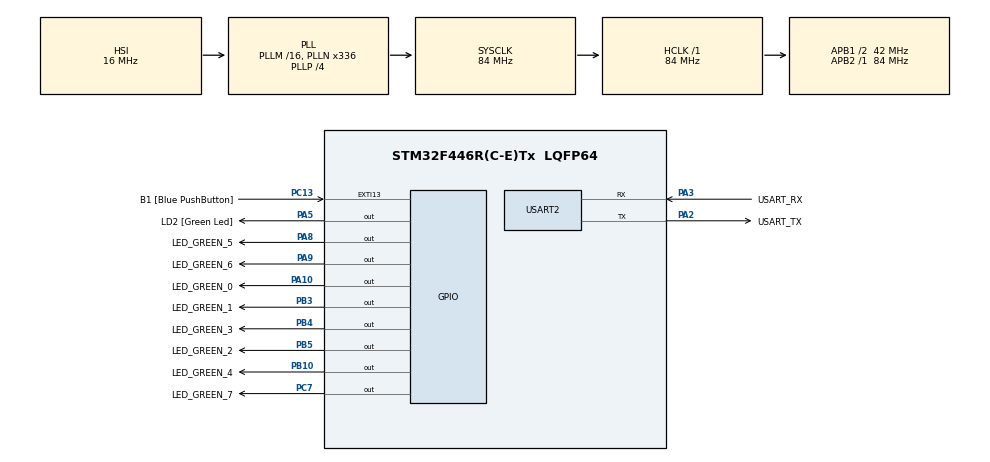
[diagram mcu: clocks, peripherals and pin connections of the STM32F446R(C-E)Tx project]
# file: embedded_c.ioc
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Mcu.Family=STM32F4
Mcu.Name=STM32F446R(C-E)Tx
Mcu.Package=LQFP64
NVIC.PriorityGroup=NVIC_PRIORITYGROUP_0
PA10.GPIO_Label=LED_GREEN_0
PA10.Signal=GPIO_Output
PA13.GPIO_Label=TMS
PA13.Mode=Serial_Wire
PA13.Signal=SYS_JTMS-SWDIO
PA14.GPIO_Label=TCK
PA14.Mode=Serial_Wire
PA14.Signal=SYS_JTCK-SWCLK
PA2.GPIO_Label=USART_TX
PA2.Mode=Asynchronous
PA2.Signal=USART2_TX
PA3.GPIO_Label=USART_RX
PA3.Mode=Asynchronous
PA3.Signal=USART2_RX
PA5.GPIO_Label=LD2 [Green Led]
PA5.Signal=GPIO_Output
PA8.GPIO_Label=LED_GREEN_5
PA8.Signal=GPIO_Output
PA9.GPIO_Label=LED_GREEN_6
PA9.Signal=GPIO_Output
PB10.GPIO_Label=LED_GREEN_4
PB10.Signal=GPIO_Output
PB3.GPIO_Label=LED_GREEN_1
PB3.Signal=GPIO_Output
PB4.GPIO_Label=LED_GREEN_3
PB4.Signal=GPIO_Output
PB5.GPIO_Label=LED_GREEN_2
PB5.Signal=GPIO_Output
PC13.GPIO_Label=B1 [Blue PushButton]
PC13.GPIO_ModeDefaultEXTI=GPIO_MODE_IT_FALLING
PC13.Signal=GPXTI13
PC14-OSC32_IN.Mode=LSE-External-Oscillator
PC14-OSC32_IN.Signal=RCC_OSC32_IN
PC15-OSC32_OUT.Mode=LSE-External-Oscillator
PC15-OSC32_OUT.Signal=RCC_OSC32_OUT
PC7.GPIO_Label=LED_GREEN_7
PC7.Signal=GPIO_Output
PH0-OSC_IN.Mode=HSE-External-Oscillator
PH0-OSC_IN.Signal=RCC_OSC_IN
PH1-OSC_OUT.Mode=HSE-External-Oscillator
PH1-OSC_OUT.Signal=RCC_OSC_OUT
ProjectManager.HeapSize=0x1000
ProjectManager.StackSize=0x2000
ProjectManager.TargetToolchain=STM32CubeIDE
RCC.48MHZClocksFreq_Value=84000000
RCC.AHBFreq_Value=84000000
RCC.APB1CLKDivider=RCC_HCLK_DIV2
RCC.APB1Freq_Value=42000000
RCC.APB1TimFreq_Value=84000000
RCC.APB2Freq_Value=84000000
RCC.APB2TimFreq_Value=84000000
RCC.CortexFreq_Value=84000000
RCC.FLatency-AdvancedSettings=FLASH_LATENCY_2
RCC.HCLKFreq_Value=84000000
RCC.HSE_VALUE=8000000
RCC.HSI_VALUE=16000000
RCC.PLLN=336
RCC.PLLP=RCC_PLLP_DIV4
RCC.SYSCLKFreq_VALUE=84000000
RCC.SYSCLKSource=RCC_SYSCLKSOURCE_PLLCLK
RCC.USBFreq_Value=168000000
RCC.VCOOutputFreq_Value=336000000
USART2.VirtualMode=VM_ASYNC
board=NUCLEO-F446RE

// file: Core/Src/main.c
/* USER CODE BEGIN Header */
/**
  ******************************************************************************
  * @file           : main.c
  * @brief          : Main program body
  ******************************************************************************
  * @attention
  *
  * Copyright (c) 2025 STMicroelectronics.
  * All rights reserved.
  *
  * This software is licensed under terms that can be found in the LICENSE file
  * in the root directory of this software component.
  * If no LICENSE file comes with this software, it is provided AS-IS.
  *
  ******************************************************************************
  */
/* USER CODE END Header */
#include "main.h"

/* USER CODE BEGIN Includes */
#include <stdio.h>
#include <stdbool.h>
#include <stdint.h>
/* USER CODE END Includes */

/* USER CODE BEGIN PD */
#define SEG_A	4
#define SEG_B	16
#define SEG_C	2
#define SEG_D	128
#define SEG_E	64
#define SEG_F	1
#define SEG_G	8
#define SEG_DP	32
/* USER CODE END PD */

UART_HandleTypeDef huart2;

/* USER CODE BEGIN PV */
const uint8_t hexDigits[16] =
{
		SEG_A | SEG_B | SEG_C | SEG_D | SEG_E | SEG_F,  // 0
		SEG_B | SEG_C,									// 1
		SEG_A | SEG_B | SEG_G | SEG_D | SEG_E,			// 2
		SEG_A | SEG_B | SEG_G | SEG_C | SEG_D,			// 3
		SEG_B | SEG_C | SEG_F | SEG_G,					// 4
		SEG_A | SEG_F | SEG_G | SEG_C | SEG_D,			// 5
		SEG_A | SEG_F | SEG_G | SEG_C | SEG_D | SEG_E,  // 6
		SEG_A | SEG_B | SEG_C,  						// 7
		SEG_A | SEG_B | SEG_C | SEG_D | SEG_E | SEG_F | SEG_G,	// 8
		SEG_A | SEG_B | SEG_C | SEG_D | SEG_F | SEG_G,			// 9
		SEG_A | SEG_B | SEG_C | SEG_E | SEG_F | SEG_G, 			// A
		SEG_C | SEG_D | SEG_E | SEG_F | SEG_G,					// B
		SEG_A | SEG_D | SEG_E | SEG_F,							// C
		SEG_B | SEG_C | SEG_D | SEG_E | SEG_G,					// D
		SEG_A | SEG_D | SEG_E | SEG_F | SEG_G,					// E
		SEG_A | SEG_E | SEG_F | SEG_G							// F
};
/* USER CODE END PV */

void SystemClock_Config(void);
static void MX_GPIO_Init(void);
static void MX_USART2_UART_Init(void);

/* USER CODE BEGIN 0 */
uint8_t cntr = 0;

void setSegments(uint8_t segments)
{
	segments ^= 0xFF; // invert all bits due to negative logic
	if (segments & 1) // bit 0
	{
		HAL_GPIO_WritePin(LED_GREEN_0_GPIO_Port, LED_GREEN_0_Pin, GPIO_PIN_SET);
	}
	else
	{
		HAL_GPIO_WritePin(LED_GREEN_0_GPIO_Port, LED_GREEN_0_Pin, GPIO_PIN_RESET);
	}
	if (segments & 2) // bit 1
	{
		HAL_GPIO_WritePin(LED_GREEN_1_GPIO_Port, LED_GREEN_1_Pin, GPIO_PIN_SET);
	}
	else
	{
		HAL_GPIO_WritePin(LED_GREEN_1_GPIO_Port, LED_GREEN_1_Pin, GPIO_PIN_RESET);
	}
	if (segments & 4) // bit 2
	{
		HAL_GPIO_WritePin(LED_GREEN_2_GPIO_Port, LED_GREEN_2_Pin, GPIO_PIN_SET);
	}
	else
	{
		HAL_GPIO_WritePin(LED_GREEN_2_GPIO_Port, LED_GREEN_2_Pin, GPIO_PIN_RESET);
	}
	if (segments & 8) // bit 3
	{
		HAL_GPIO_WritePin(LED_GREEN_3_GPIO_Port, LED_GREEN_3_Pin, GPIO_PIN_SET);
	}
	else
	{
		HAL_GPIO_WritePin(LED_GREEN_3_GPIO_Port, LED_GREEN_3_Pin, GPIO_PIN_RESET);
	}
	if (segments & 16) // bit 4
	{
		HAL_GPIO_WritePin(LED_GREEN_4_GPIO_Port, LED_GREEN_4_Pin, GPIO_PIN_SET);
	}
	else
	{
		HAL_GPIO_WritePin(LED_GREEN_4_GPIO_Port, LED_GREEN_4_Pin, GPIO_PIN_RESET);
	}
	if (segments & 32) // bit 5
	{
		HAL_GPIO_WritePin(LED_GREEN_5_GPIO_Port, LED_GREEN_5_Pin, GPIO_PIN_SET);
	}
	else
	{
		HAL_GPIO_WritePin(LED_GREEN_5_GPIO_Port, LED_GREEN_5_Pin, GPIO_PIN_RESET);
	}
	if (segments & 64) // bit 6
	{
		HAL_GPIO_WritePin(LED_GREEN_6_GPIO_Port, LED_GREEN_6_Pin, GPIO_PIN_SET);
	}
	else
	{
		HAL_GPIO_WritePin(LED_GREEN_6_GPIO_Port, LED_GREEN_6_Pin, GPIO_PIN_RESET);
	}
	if (segments & 128) // bit 7
	{
		HAL_GPIO_WritePin(LED_GREEN_7_GPIO_Port, LED_GREEN_7_Pin, GPIO_PIN_SET);
	}
	else
	{
		HAL_GPIO_WritePin(LED_GREEN_7_GPIO_Port, LED_GREEN_7_Pin, GPIO_PIN_RESET);
	}
}
/* USER CODE END 0 */

int main(void)
{

  /* MCU Configuration--------------------------------------------------------*/

  /* Reset of all peripherals, Initializes the Flash interface and the Systick. */
  HAL_Init();

  /* Configure the system clock */
  SystemClock_Config();

  /* Initialize all configured peripherals */
  MX_GPIO_Init();
  MX_USART2_UART_Init();

  /* Infinite loop */
  /* USER CODE BEGIN WHILE */
  while (1)
  {
	printf("Hello world! cntr: %d\r\n", cntr);
	setSegments(hexDigits[cntr & 15]);
	cntr++;
    HAL_Delay(500);
    /* USER CODE END WHILE */

  }
}

void SystemClock_Config(void)
{
  RCC_OscInitTypeDef RCC_OscInitStruct = {0};
  RCC_ClkInitTypeDef RCC_ClkInitStruct = {0};

  /** Configure the main internal regulator output voltage
  */
  __HAL_RCC_PWR_CLK_ENABLE();
  __HAL_PWR_VOLTAGESCALING_CONFIG(PWR_REGULATOR_VOLTAGE_SCALE3);

  /** Initializes the RCC Oscillators according to the specified parameters
  * in the RCC_OscInitTypeDef structure.
  */
  RCC_OscInitStruct.OscillatorType = RCC_OSCILLATORTYPE_HSI;
  RCC_OscInitStruct.HSIState = RCC_HSI_ON;
  RCC_OscInitStruct.HSICalibrationValue = RCC_HSICALIBRATION_DEFAULT;
  RCC_OscInitStruct.PLL.PLLState = RCC_PLL_ON;
  RCC_OscInitStruct.PLL.PLLSource = RCC_PLLSOURCE_HSI;
  RCC_OscInitStruct.PLL.PLLM = 16;
  RCC_OscInitStruct.PLL.PLLN = 336;
  RCC_OscInitStruct.PLL.PLLP = RCC_PLLP_DIV4;
  RCC_OscInitStruct.PLL.PLLQ = 2;
  RCC_OscInitStruct.PLL.PLLR = 2;
  if (HAL_RCC_OscConfig(&RCC_OscInitStruct) != HAL_OK)
  {
    Error_Handler();
  }

  /** Initializes the CPU, AHB and APB buses clocks
  */
  RCC_ClkInitStruct.ClockType = RCC_CLOCKTYPE_HCLK|RCC_CLOCKTYPE_SYSCLK
                              |RCC_CLOCKTYPE_PCLK1|RCC_CLOCKTYPE_PCLK2;
  RCC_ClkInitStruct.SYSCLKSource = RCC_SYSCLKSOURCE_PLLCLK;
  RCC_ClkInitStruct.AHBCLKDivider = RCC_SYSCLK_DIV1;
  RCC_ClkInitStruct.APB1CLKDivider = RCC_HCLK_DIV2;
  RCC_ClkInitStruct.APB2CLKDivider = RCC_HCLK_DIV1;

  if (HAL_RCC_ClockConfig(&RCC_ClkInitStruct, FLASH_LATENCY_2) != HAL_OK)
  {
    Error_Handler();
  }
}

static void MX_USART2_UART_Init(void)
{

  huart2.Instance = USART2;
  huart2.Init.BaudRate = 115200;
  huart2.Init.WordLength = UART_WORDLENGTH_8B;
  huart2.Init.StopBits = UART_STOPBITS_1;
  huart2.Init.Parity = UART_PARITY_NONE;
  huart2.Init.Mode = UART_MODE_TX_RX;
  huart2.Init.HwFlowCtl = UART_HWCONTROL_NONE;
  huart2.Init.OverSampling = UART_OVERSAMPLING_16;
  if (HAL_UART_Init(&huart2) != HAL_OK)
  {
    Error_Handler();
  }

}

static void MX_GPIO_Init(void)
{
  GPIO_InitTypeDef GPIO_InitStruct = {0};

  /* GPIO Ports Clock Enable */
  __HAL_RCC_GPIOC_CLK_ENABLE();
  __HAL_RCC_GPIOH_CLK_ENABLE();
  __HAL_RCC_GPIOA_CLK_ENABLE();
  __HAL_RCC_GPIOB_CLK_ENABLE();

  /*Configure GPIO pin Output Level */
  HAL_GPIO_WritePin(GPIOA, LD2_Pin|LED_GREEN_5_Pin|LED_GREEN_6_Pin|LED_GREEN_0_Pin, GPIO_PIN_RESET);

  /*Configure GPIO pin Output Level */
  HAL_GPIO_WritePin(GPIOB, LED_GREEN_4_Pin|LED_GREEN_1_Pin|LED_GREEN_3_Pin|LED_GREEN_2_Pin, GPIO_PIN_RESET);

  /*Configure GPIO pin Output Level */
  HAL_GPIO_WritePin(LED_GREEN_7_GPIO_Port, LED_GREEN_7_Pin, GPIO_PIN_RESET);

  /*Configure GPIO pin : B1_Pin */
  GPIO_InitStruct.Pin = B1_Pin;
  GPIO_InitStruct.Mode = GPIO_MODE_IT_FALLING;
  GPIO_InitStruct.Pull = GPIO_NOPULL;
  HAL_GPIO_Init(B1_GPIO_Port, &GPIO_InitStruct);

  /*Configure GPIO pins : LD2_Pin LED_GREEN_5_Pin LED_GREEN_6_Pin LED_GREEN_0_Pin */
  GPIO_InitStruct.Pin = LD2_Pin|LED_GREEN_5_Pin|LED_GREEN_6_Pin|LED_GREEN_0_Pin;
  GPIO_InitStruct.Mode = GPIO_MODE_OUTPUT_PP;
  GPIO_InitStruct.Pull = GPIO_NOPULL;
  GPIO_InitStruct.Speed = GPIO_SPEED_FREQ_LOW;
  HAL_GPIO_Init(GPIOA, &GPIO_InitStruct);

  /*Configure GPIO pins : LED_GREEN_4_Pin LED_GREEN_1_Pin LED_GREEN_3_Pin LED_GREEN_2_Pin */
  GPIO_InitStruct.Pin = LED_GREEN_4_Pin|LED_GREEN_1_Pin|LED_GREEN_3_Pin|LED_GREEN_2_Pin;
  GPIO_InitStruct.Mode = GPIO_MODE_OUTPUT_PP;
  GPIO_InitStruct.Pull = GPIO_NOPULL;
  GPIO_InitStruct.Speed = GPIO_SPEED_FREQ_LOW;
  HAL_GPIO_Init(GPIOB, &GPIO_InitStruct);

  /*Configure GPIO pin : LED_GREEN_7_Pin */
  GPIO_InitStruct.Pin = LED_GREEN_7_Pin;
  GPIO_InitStruct.Mode = GPIO_MODE_OUTPUT_PP;
  GPIO_InitStruct.Pull = GPIO_NOPULL;
  GPIO_InitStruct.Speed = GPIO_SPEED_FREQ_LOW;
  HAL_GPIO_Init(LED_GREEN_7_GPIO_Port, &GPIO_InitStruct);

}

void Error_Handler(void)
{
  __disable_irq();
  while (1)
  {
  }
}
